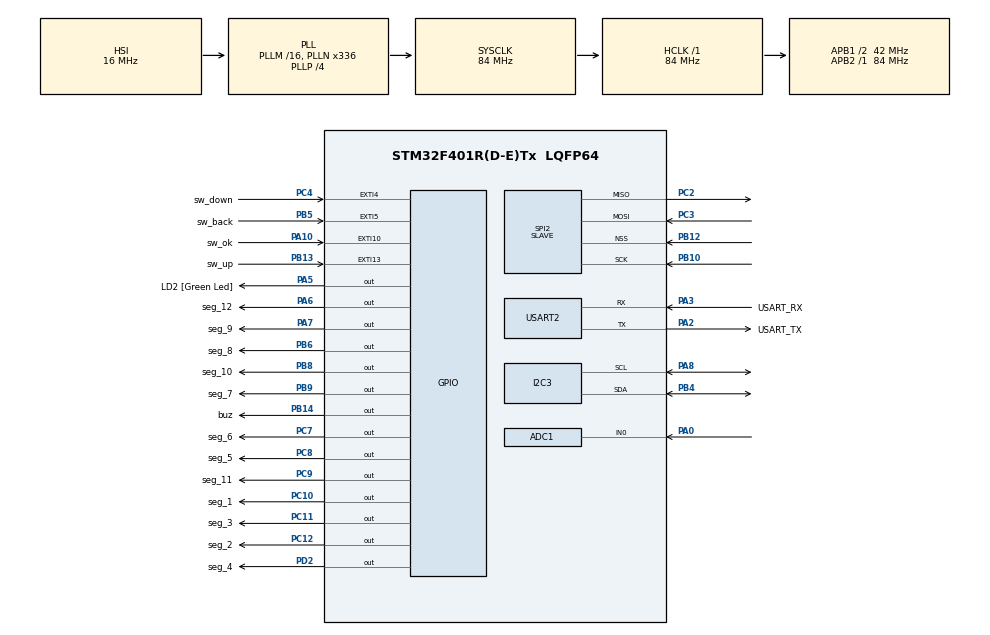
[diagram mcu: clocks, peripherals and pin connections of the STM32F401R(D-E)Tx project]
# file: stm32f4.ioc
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ADC1.Channel-0\#ChannelRegularConversion=ADC_CHANNEL_0
ADC1.DMAContinuousRequests=ENABLE
ADC1.ExternalTrigConv=ADC_EXTERNALTRIGCONV_T3_TRGO
ADC1.NbrOfConversion=1
ADC1.NbrOfConversionFlag=1
ADC1.Rank-0\#ChannelRegularConversion=1
ADC1.SamplingTime-0\#ChannelRegularConversion=ADC_SAMPLETIME_56CYCLES
ADC1.master=1
Dma.ADC1.0.Direction=DMA_PERIPH_TO_MEMORY
Dma.ADC1.0.FIFOMode=DMA_FIFOMODE_DISABLE
Dma.ADC1.0.Instance=DMA2_Stream0
Dma.ADC1.0.MemDataAlignment=DMA_MDATAALIGN_HALFWORD
Dma.ADC1.0.MemInc=DMA_MINC_ENABLE
Dma.ADC1.0.Mode=DMA_CIRCULAR
Dma.ADC1.0.PeriphDataAlignment=DMA_PDATAALIGN_HALFWORD
Dma.ADC1.0.PeriphInc=DMA_PINC_DISABLE
Dma.ADC1.0.Priority=DMA_PRIORITY_LOW
Dma.Request0=ADC1
FREERTOS.BinarySemaphores01=adcBinarySem,Dynamic,NULL,Depleted
FREERTOS.Queues01=buttonQueue,16,uint16_t,0,Dynamic,NULL,NULL
FREERTOS.Tasks01=FFTTask,2,2048,StartFFTTask,Default,NULL,Dynamic,NULL,NULL;menuTask,0,128,StartMenuTask,Default,NULL,Dynamic,NULL,NULL
FREERTOS.configUSE_NEWLIB_REENTRANT=1
Mcu.Family=STM32F4
Mcu.Name=STM32F401R(D-E)Tx
Mcu.Package=LQFP64
NVIC.DMA2_Stream0_IRQn=true\:5\:0\:false\:false\:true\:true\:false\:true\:true
NVIC.EXTI15_10_IRQn=true\:5\:0\:false\:false\:true\:true\:true\:true\:true
NVIC.EXTI4_IRQn=true\:5\:0\:false\:false\:true\:true\:true\:true\:true
NVIC.EXTI9_5_IRQn=true\:5\:0\:false\:false\:true\:true\:true\:true\:true
NVIC.PriorityGroup=NVIC_PRIORITYGROUP_4
NVIC.SPI2_IRQn=true\:5\:0\:false\:false\:true\:true\:true\:true\:true
NVIC.TIM1_UP_TIM10_IRQn=true\:15\:0\:false\:false\:true\:false\:false\:true\:true
NVIC.TIM2_IRQn=true\:5\:0\:false\:false\:true\:true\:true\:true\:true
NVIC.TimeBase=TIM1_UP_TIM10_IRQn
NVIC.TimeBaseIP=TIM1
PA0-WKUP.Signal=ADCx_IN0
PA10.GPIO_Label=sw_ok
PA10.Signal=GPXTI10
PA13.GPIO_Label=TMS
PA13.Mode=Trace_Asynchronous_SW
PA13.Signal=SYS_JTMS-SWDIO
PA14.GPIO_Label=TCK
PA14.Mode=Trace_Asynchronous_SW
PA14.Signal=SYS_JTCK-SWCLK
PA2.GPIO_Label=USART_TX
PA2.GPIO_Mode=GPIO_MODE_AF_PP
PA2.GPIO_PuPd=GPIO_NOPULL
PA2.GPIO_Speed=GPIO_SPEED_FREQ_LOW
PA2.Mode=Asynchronous
PA2.Signal=USART2_TX
PA3.GPIO_Label=USART_RX
PA3.GPIO_Mode=GPIO_MODE_AF_PP
PA3.GPIO_PuPd=GPIO_NOPULL
PA3.GPIO_Speed=GPIO_SPEED_FREQ_LOW
PA3.Mode=Asynchronous
PA3.Signal=USART2_RX
PA5.GPIO_Label=LD2 [Green Led]
PA5.GPIO_Mode=GPIO_MODE_OUTPUT_PP
PA5.GPIO_PuPd=GPIO_NOPULL
PA5.GPIO_Speed=GPIO_SPEED_FREQ_LOW
PA5.Signal=GPIO_Output
PA6.GPIO_Label=seg_12
PA6.Signal=GPIO_Output
PA7.GPIO_Label=seg_9
PA7.Signal=GPIO_Output
PA8.Mode=I2C
PA8.Signal=I2C3_SCL
PB10.Mode=Full_Duplex_Slave
PB10.Signal=SPI2_SCK
PB12.Mode=NSS_Signal_Hard_Input
PB12.Signal=SPI2_NSS
PB13.GPIO_Label=sw_up
PB13.Signal=GPXTI13
PB14.GPIO_Label=buz
PB14.GPIO_PuPd=GPIO_PULLDOWN
PB14.Signal=GPIO_Output
PB3.GPIO_Label=SWO
PB3.Mode=Trace_Asynchronous_SW
PB3.Signal=SYS_JTDO-SWO
PB4.Mode=I2C
PB4.Signal=I2C3_SDA
PB5.GPIO_Label=sw_back
PB5.Signal=GPXTI5
PB6.GPIO_Label=seg_8
PB6.Signal=GPIO_Output
PB8.GPIO_Label=seg_10
PB8.Signal=GPIO_Output
PB9.GPIO_Label=seg_7
PB9.Signal=GPIO_Output
PC10.GPIO_Label=seg_1
PC10.Signal=GPIO_Output
PC11.GPIO_Label=seg_3
PC11.Signal=GPIO_Output
PC12.GPIO_Label=seg_2
PC12.Signal=GPIO_Output
PC14-OSC32_IN.Mode=LSE-External-Oscillator
PC14-OSC32_IN.Signal=RCC_OSC32_IN
PC15-OSC32_OUT.Mode=LSE-External-Oscillator
PC15-OSC32_OUT.Signal=RCC_OSC32_OUT
PC2.Mode=Full_Duplex_Slave
PC2.Signal=SPI2_MISO
PC3.Mode=Full_Duplex_Slave
PC3.Signal=SPI2_MOSI
PC4.GPIO_Label=sw_down
PC4.Signal=GPXTI4
PC7.GPIO_Label=seg_6
PC7.Signal=GPIO_Output
PC8.GPIO_Label=seg_5
PC8.Signal=GPIO_Output
PC9.GPIO_Label=seg_11
PC9.Signal=GPIO_Output
PD2.GPIO_Label=seg_4
PD2.Signal=GPIO_Output
PH0\ -\ OSC_IN.Mode=HSE-External-Clock-Source
PH0\ -\ OSC_IN.Signal=RCC_OSC_IN
PH1\ -\ OSC_OUT.Mode=HSE-External-Clock-Source
PH1\ -\ OSC_OUT.Signal=RCC_OSC_OUT
ProjectManager.HeapSize=0x200
ProjectManager.StackSize=0x400
ProjectManager.TargetToolchain=STM32CubeIDE
RCC.48MHZClocksFreq_Value=48000000
RCC.AHBFreq_Value=84000000
RCC.APB1CLKDivider=RCC_HCLK_DIV2
RCC.APB1Freq_Value=42000000
RCC.APB1TimFreq_Value=84000000
RCC.APB2Freq_Value=84000000
RCC.APB2TimFreq_Value=84000000
RCC.CortexFreq_Value=84000000
RCC.HCLKFreq_Value=84000000
RCC.HSE_VALUE=8000000
RCC.HSI_VALUE=16000000
RCC.PLLN=336
RCC.PLLP=RCC_PLLP_DIV4
RCC.PLLQ=7
RCC.SYSCLKFreq_VALUE=84000000
RCC.SYSCLKSource=RCC_SYSCLKSOURCE_PLLCLK
RCC.VCOOutputFreq_Value=336000000
SH.ADCx_IN0.0=ADC1_IN0,IN0
SPI2.Direction=SPI_DIRECTION_2LINES
SPI2.Mode=SPI_MODE_SLAVE
SPI2.VirtualNSS=VM_NSSHARD
SPI2.VirtualType=VM_SLAVE
STMicroelectronics.X-CUBE-ALGOBUILD.1.4.0.LibraryCcDSPOoLibraryJjDSPOoLibrary=true
TIM2.Period=998
TIM2.Prescaler=83
TIM3.Period=99
TIM3.Prescaler=83
TIM3.TIM_MasterOutputTrigger=TIM_TRGO_UPDATE
USART2.VirtualMode=VM_ASYNC
VP_FREERTOS_VS_CMSIS_V1.Mode=CMSIS_V1
VP_STMicroelectronics.X-CUBE-ALGOBUILD_VS_DSPOoLibraryJjLibrary_1.4.0_1.4.0.Mode=DSPOoLibraryJjLibrary
VP_SYS_VS_tim1.Mode=TIM1
VP_TIM2_VS_ClockSourceINT.Mode=Internal
VP_TIM3_VS_ClockSourceINT.Mode=Internal
board=NUCLEO-F401RE

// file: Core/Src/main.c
/* USER CODE BEGIN Header */
/**
  ******************************************************************************
  * @file           : main.c
  * @brief          : Main program body
  ******************************************************************************
  * @attention
  *
  * Copyright (c) 2025 STMicroelectronics.
  * All rights reserved.
  *
  * This software is licensed under terms that can be found in the LICENSE file
  * in the root directory of this software component.
  * If no LICENSE file comes with this software, it is provided AS-IS.
  *
  ******************************************************************************
  */
/* USER CODE END Header */
#include "main.h"
#include "cmsis_os.h"

/* USER CODE BEGIN Includes */
#include <stdio.h>
#include "arm_math.h"  // DSP 라이브러리 (FFT용)
#include "fnd.h"
#include "lcd.h"
#include "menu.h"
#include <stdbool.h>
#include <math.h> // 해밍윈도우 M_PI 사용을 위해 추가

/* USER CODE END Includes */

/* USER CODE BEGIN PD */
#define FFT_LEN 1024       // 128, 256, 512, 1024, 2048 중 선택 (1024 권장)
#define SAMPLE_RATE 10000  // 10kHz (타이머 설정에 맞춤)
/* USER CODE END PD */

ADC_HandleTypeDef hadc1;
DMA_HandleTypeDef hdma_adc1;

I2C_HandleTypeDef hi2c3;

SPI_HandleTypeDef hspi2;

TIM_HandleTypeDef htim2;
TIM_HandleTypeDef htim3;

UART_HandleTypeDef huart2;

osThreadId FFTTaskHandle;
osThreadId menuTaskHandle;
osMessageQId buttonQueueHandle;
osSemaphoreId adcBinarySemHandle;
/* USER CODE BEGIN PV */

SPI_HandleTypeDef hspi2;
Packet tx_data; // 보낼 ?  ?  ?
Packet rx_data; // 받을 ?  ?  ?   (Master ? 보내?   Dummy  ? ???  ?  )
void Update_Sensor_Data_SPI(bool is_overspeed, int speed);

// 1. ADC 버퍼 (DMA가 데이터를 채워넣는 곳)
// uint16_t 타입이어야 합니다 (ADC가 12비트 정수이므로)
uint16_t adc_buffer[FFT_LEN * 2];

// 2. Q15 FFT용 버퍼들
// 입력/출력 버퍼는 FFT 길이의 2배가 필요합니다 (실수부 + 허수부)
q15_t fft_input_q15[FFT_LEN * 2];
q15_t fft_output_q15[FFT_LEN * 2];
q15_t fft_mag_q15[FFT_LEN];      // 최종 크기(Magnitude) 결과
volatile uint32_t process_offset = 0; // 태스크가 읽어야 할 위치 (0 또는 1024)

// 노이즈 마스킹용
int search_frame_count = 0;
volatile uint32_t noise_search_trigger = 0;
const int NOISE_SEARCH_LIMIT = 50;
uint8_t noise_bin_mask[FFT_LEN] = {0};

// FND
uint32_t held_speed_x10 = 0; // 세그먼트 출력용 (일정시간 유지)
uint32_t last_peak_tick = 0;
const uint32_t HOLD_TIME_MS = 1000; // 1초 동안 최고값 유지

// [SWV 관찰용 전역 변수]
volatile uint32_t debug_speed = 0;   // 계산된 속도
volatile uint32_t debug_speed_x10 = 0;
volatile uint32_t debug_freq = 0;    // 계산된 주파수
volatile int32_t debug_maxVal = 0;   // 신호 세기 (Magnitude)
volatile uint32_t debug_isr_cnt = 0; // 인터럽트 횟수 카운터
volatile q15_t debug_mag = 0; // 푸리에 편환 주파수별 세기 그래프 보기용도
volatile uint32_t debug_adc_raw = 0;
volatile uint32_t debug_accumulated = 0; // SNR 누적 확인용
volatile uint32_t debug_fft_mag = 0;
char debug_buffer[100]; // 디버그 출력

volatile uint32_t TH_OVERSPEED_km_h = 30;
volatile uint32_t TH_NOISE = 30;

#define ACC_FRAMES 3 // 누적 (너무 많이하면 반응 느려짐)
int32_t fft_accumulated[FFT_LEN] = {0}; // 누적용 버퍼
int acc_count = 0;

q15_t hanning_window[FFT_LEN]; // 해밍윈도우 0~32,000
// FFT 구조체 인스턴스
arm_rfft_instance_q15 S;

/* USER CODE END PV */

void SystemClock_Config(void);
static void MX_GPIO_Init(void);
static void MX_DMA_Init(void);
static void MX_USART2_UART_Init(void);
static void MX_ADC1_Init(void);
static void MX_TIM3_Init(void);
static void MX_TIM2_Init(void);
static void MX_SPI2_Init(void);
static void MX_I2C3_Init(void);
void StartFFTTask(void const * argument);
void StartMenuTask(void const * argument);

/* USER CODE BEGIN 0 */
int __io_putchar(int ch)
{
 // Write character to ITM ch.0
 ITM_SendChar(ch);
 return(ch);
}
/* USER CODE END 0 */

int main(void)
{

  /* MCU Configuration--------------------------------------------------------*/

  /* Reset of all peripherals, Initializes the Flash interface and the Systick. */

	HAL_Init();

  /* Configure the system clock */
  SystemClock_Config();

  /* Initialize all configured peripherals */
  MX_GPIO_Init();
  MX_DMA_Init();
  MX_USART2_UART_Init();
  MX_ADC1_Init();
  MX_TIM3_Init();
  MX_TIM2_Init();
  MX_SPI2_Init();
  MX_I2C3_Init();
  /* USER CODE BEGIN 2 */
  FND_Init();
  HAL_TIM_Base_Start_IT(&htim2);
  for (int i = 0; i < FFT_LEN; i++) {
      // 0.5 * (1 - cos(2*pi*n / (N-1))) 공식을 Q15 포맷으로 변환
      // 32767은 Q15의 1.0에 해당
      float32_t val = 0.5f * (1.0f - cosf(2.0f * 3.141592f * (float)i / (float)(FFT_LEN - 1)));
      hanning_window[i] = (q15_t)(val * 32767.0f);
  }
  /* USER CODE END 2 */

  /* Create the semaphores(s) */
  /* definition and creation of adcBinarySem */
  osSemaphoreDef(adcBinarySem);
  adcBinarySemHandle = osSemaphoreCreate(osSemaphore(adcBinarySem), 1);

  /* Create the queue(s) */
  /* definition and creation of buttonQueue */
  osMessageQDef(buttonQueue, 16, uint16_t);
  buttonQueueHandle = osMessageCreate(osMessageQ(buttonQueue), NULL);

  /* Create the thread(s) */
  /* definition and creation of FFTTask */
  osThreadDef(FFTTask, StartFFTTask, osPriorityHigh, 0, 2048);
  FFTTaskHandle = osThreadCreate(osThread(FFTTask), NULL);

  /* definition and creation of menuTask */
  osThreadDef(menuTask, StartMenuTask, osPriorityNormal, 0, 128);
  menuTaskHandle = osThreadCreate(osThread(menuTask), NULL);

  /* Start scheduler */
  osKernelStart();

  /* We should never get here as control is now taken by the scheduler */

  /* Infinite loop */
  while (1)
  {

  }
}

void SystemClock_Config(void)
{
  RCC_OscInitTypeDef RCC_OscInitStruct = {0};
  RCC_ClkInitTypeDef RCC_ClkInitStruct = {0};

  /** Configure the main internal regulator output voltage
  */
  __HAL_RCC_PWR_CLK_ENABLE();
  __HAL_PWR_VOLTAGESCALING_CONFIG(PWR_REGULATOR_VOLTAGE_SCALE2);

  /** Initializes the RCC Oscillators according to the specified parameters
  * in the RCC_OscInitTypeDef structure.
  */
  RCC_OscInitStruct.OscillatorType = RCC_OSCILLATORTYPE_HSI;
  RCC_OscInitStruct.HSIState = RCC_HSI_ON;
  RCC_OscInitStruct.HSICalibrationValue = RCC_HSICALIBRATION_DEFAULT;
  RCC_OscInitStruct.PLL.PLLState = RCC_PLL_ON;
  RCC_OscInitStruct.PLL.PLLSource = RCC_PLLSOURCE_HSI;
  RCC_OscInitStruct.PLL.PLLM = 16;
  RCC_OscInitStruct.PLL.PLLN = 336;
  RCC_OscInitStruct.PLL.PLLP = RCC_PLLP_DIV4;
  RCC_OscInitStruct.PLL.PLLQ = 7;
  if (HAL_RCC_OscConfig(&RCC_OscInitStruct) != HAL_OK)
  {
    Error_Handler();
  }

  /** Initializes the CPU, AHB and APB buses clocks
  */
  RCC_ClkInitStruct.ClockType = RCC_CLOCKTYPE_HCLK|RCC_CLOCKTYPE_SYSCLK
                              |RCC_CLOCKTYPE_PCLK1|RCC_CLOCKTYPE_PCLK2;
  RCC_ClkInitStruct.SYSCLKSource = RCC_SYSCLKSOURCE_PLLCLK;
  RCC_ClkInitStruct.AHBCLKDivider = RCC_SYSCLK_DIV1;
  RCC_ClkInitStruct.APB1CLKDivider = RCC_HCLK_DIV2;
  RCC_ClkInitStruct.APB2CLKDivider = RCC_HCLK_DIV1;

  if (HAL_RCC_ClockConfig(&RCC_ClkInitStruct, FLASH_LATENCY_2) != HAL_OK)
  {
    Error_Handler();
  }
}

static void MX_ADC1_Init(void)
{

  ADC_ChannelConfTypeDef sConfig = {0};

  /** Configure the global features of the ADC (Clock, Resolution, Data Alignment and number of conversion)
  */
  hadc1.Instance = ADC1;
  hadc1.Init.ClockPrescaler = ADC_CLOCK_SYNC_PCLK_DIV4;
  hadc1.Init.Resolution = ADC_RESOLUTION_12B;
  hadc1.Init.ScanConvMode = DISABLE;
  hadc1.Init.ContinuousConvMode = DISABLE;
  hadc1.Init.DiscontinuousConvMode = DISABLE;
  hadc1.Init.ExternalTrigConvEdge = ADC_EXTERNALTRIGCONVEDGE_RISING;
  hadc1.Init.ExternalTrigConv = ADC_EXTERNALTRIGCONV_T3_TRGO;
  hadc1.Init.DataAlign = ADC_DATAALIGN_RIGHT;
  hadc1.Init.NbrOfConversion = 1;
  hadc1.Init.DMAContinuousRequests = ENABLE;
  hadc1.Init.EOCSelection = ADC_EOC_SINGLE_CONV;
  if (HAL_ADC_Init(&hadc1) != HAL_OK)
  {
    Error_Handler();
  }

  /** Configure for the selected ADC regular channel its corresponding rank in the sequencer and its sample time.
  */
  sConfig.Channel = ADC_CHANNEL_0;
  sConfig.Rank = 1;
  sConfig.SamplingTime = ADC_SAMPLETIME_480CYCLES;
  if (HAL_ADC_ConfigChannel(&hadc1, &sConfig) != HAL_OK)
  {
    Error_Handler();
  }

}

static void MX_I2C3_Init(void)
{

  hi2c3.Instance = I2C3;
  hi2c3.Init.ClockSpeed = 100000;
  hi2c3.Init.DutyCycle = I2C_DUTYCYCLE_2;
  hi2c3.Init.OwnAddress1 = 0;
  hi2c3.Init.AddressingMode = I2C_ADDRESSINGMODE_7BIT;
  hi2c3.Init.DualAddressMode = I2C_DUALADDRESS_DISABLE;
  hi2c3.Init.OwnAddress2 = 0;
  hi2c3.Init.GeneralCallMode = I2C_GENERALCALL_DISABLE;
  hi2c3.Init.NoStretchMode = I2C_NOSTRETCH_DISABLE;
  if (HAL_I2C_Init(&hi2c3) != HAL_OK)
  {
    Error_Handler();
  }

}

static void MX_SPI2_Init(void)
{

  /* SPI2 parameter configuration*/
  hspi2.Instance = SPI2;
  hspi2.Init.Mode = SPI_MODE_SLAVE;
  hspi2.Init.Direction = SPI_DIRECTION_2LINES;
  hspi2.Init.DataSize = SPI_DATASIZE_8BIT;
  hspi2.Init.CLKPolarity = SPI_POLARITY_LOW;
  hspi2.Init.CLKPhase = SPI_PHASE_1EDGE;
  hspi2.Init.NSS = SPI_NSS_HARD_INPUT;
  hspi2.Init.FirstBit = SPI_FIRSTBIT_MSB;
  hspi2.Init.TIMode = SPI_TIMODE_DISABLE;
  hspi2.Init.CRCCalculation = SPI_CRCCALCULATION_DISABLE;
  hspi2.Init.CRCPolynomial = 10;
  if (HAL_SPI_Init(&hspi2) != HAL_OK)
  {
    Error_Handler();
  }

}

static void MX_TIM2_Init(void)
{

  TIM_ClockConfigTypeDef sClockSourceConfig = {0};
  TIM_MasterConfigTypeDef sMasterConfig = {0};

  htim2.Instance = TIM2;
  htim2.Init.Prescaler = 83;
  htim2.Init.CounterMode = TIM_COUNTERMODE_UP;
  htim2.Init.Period = 998;
  htim2.Init.ClockDivision = TIM_CLOCKDIVISION_DIV1;
  htim2.Init.AutoReloadPreload = TIM_AUTORELOAD_PRELOAD_DISABLE;
  if (HAL_TIM_Base_Init(&htim2) != HAL_OK)
  {
    Error_Handler();
  }
  sClockSourceConfig.ClockSource = TIM_CLOCKSOURCE_INTERNAL;
  if (HAL_TIM_ConfigClockSource(&htim2, &sClockSourceConfig) != HAL_OK)
  {
    Error_Handler();
  }
  sMasterConfig.MasterOutputTrigger = TIM_TRGO_RESET;
  sMasterConfig.MasterSlaveMode = TIM_MASTERSLAVEMODE_DISABLE;
  if (HAL_TIMEx_MasterConfigSynchronization(&htim2, &sMasterConfig) != HAL_OK)
  {
    Error_Handler();
  }

}

static void MX_TIM3_Init(void)
{

  TIM_ClockConfigTypeDef sClockSourceConfig = {0};
  TIM_MasterConfigTypeDef sMasterConfig = {0};

  htim3.Instance = TIM3;
  htim3.Init.Prescaler = 83;
  htim3.Init.CounterMode = TIM_COUNTERMODE_UP;
  htim3.Init.Period = 99;
  htim3.Init.ClockDivision = TIM_CLOCKDIVISION_DIV1;
  htim3.Init.AutoReloadPreload = TIM_AUTORELOAD_PRELOAD_DISABLE;
  if (HAL_TIM_Base_Init(&htim3) != HAL_OK)
  {
    Error_Handler();
  }
  sClockSourceConfig.ClockSource = TIM_CLOCKSOURCE_INTERNAL;
  if (HAL_TIM_ConfigClockSource(&htim3, &sClockSourceConfig) != HAL_OK)
  {
    Error_Handler();
  }
  sMasterConfig.MasterOutputTrigger = TIM_TRGO_UPDATE;
  sMasterConfig.MasterSlaveMode = TIM_MASTERSLAVEMODE_DISABLE;
  if (HAL_TIMEx_MasterConfigSynchronization(&htim3, &sMasterConfig) != HAL_OK)
  {
    Error_Handler();
  }

}

static void MX_USART2_UART_Init(void)
{

  huart2.Instance = USART2;
  huart2.Init.BaudRate = 115200;
  huart2.Init.WordLength = UART_WORDLENGTH_8B;
  huart2.Init.StopBits = UART_STOPBITS_1;
  huart2.Init.Parity = UART_PARITY_NONE;
  huart2.Init.Mode = UART_MODE_TX_RX;
  huart2.Init.HwFlowCtl = UART_HWCONTROL_NONE;
  huart2.Init.OverSampling = UART_OVERSAMPLING_16;
  if (HAL_UART_Init(&huart2) != HAL_OK)
  {
    Error_Handler();
  }

}

static void MX_DMA_Init(void)
{

  /* DMA controller clock enable */
  __HAL_RCC_DMA2_CLK_ENABLE();

  /* DMA interrupt init */
  /* DMA2_Stream0_IRQn interrupt configuration */
  HAL_NVIC_SetPriority(DMA2_Stream0_IRQn, 5, 0);
  HAL_NVIC_EnableIRQ(DMA2_Stream0_IRQn);

}

static void MX_GPIO_Init(void)
{
  GPIO_InitTypeDef GPIO_InitStruct = {0};

  /* GPIO Ports Clock Enable */
  __HAL_RCC_GPIOC_CLK_ENABLE();
  __HAL_RCC_GPIOH_CLK_ENABLE();
  __HAL_RCC_GPIOA_CLK_ENABLE();
  __HAL_RCC_GPIOB_CLK_ENABLE();
  __HAL_RCC_GPIOD_CLK_ENABLE();

  /*Configure GPIO pin Output Level */
  HAL_GPIO_WritePin(GPIOA, LD2_Pin|seg_12_Pin|seg_9_Pin, GPIO_PIN_RESET);

  /*Configure GPIO pin Output Level */
  HAL_GPIO_WritePin(GPIOB, buz_Pin|seg_8_Pin|seg_10_Pin|seg_7_Pin, GPIO_PIN_RESET);

  /*Configure GPIO pin Output Level */
  HAL_GPIO_WritePin(GPIOC, seg_6_Pin|seg_5_Pin|seg_11_Pin|seg_1_Pin
                          |seg_3_Pin|seg_2_Pin, GPIO_PIN_RESET);

  /*Configure GPIO pin Output Level */
  HAL_GPIO_WritePin(seg_4_GPIO_Port, seg_4_Pin, GPIO_PIN_RESET);

  /*Configure GPIO pins : LD2_Pin seg_12_Pin seg_9_Pin */
  GPIO_InitStruct.Pin = LD2_Pin|seg_12_Pin|seg_9_Pin;
  GPIO_InitStruct.Mode = GPIO_MODE_OUTPUT_PP;
  GPIO_InitStruct.Pull = GPIO_NOPULL;
  GPIO_InitStruct.Speed = GPIO_SPEED_FREQ_LOW;
  HAL_GPIO_Init(GPIOA, &GPIO_InitStruct);

  /*Configure GPIO pin : sw_down_Pin */
  GPIO_InitStruct.Pin = sw_down_Pin;
  GPIO_InitStruct.Mode = GPIO_MODE_IT_RISING;
  GPIO_InitStruct.Pull = GPIO_NOPULL;
  HAL_GPIO_Init(sw_down_GPIO_Port, &GPIO_InitStruct);

  /*Configure GPIO pins : sw_up_Pin sw_back_Pin */
  GPIO_InitStruct.Pin = sw_up_Pin|sw_back_Pin;
  GPIO_InitStruct.Mode = GPIO_MODE_IT_RISING;
  GPIO_InitStruct.Pull = GPIO_NOPULL;
  HAL_GPIO_Init(GPIOB, &GPIO_InitStruct);

  /*Configure GPIO pin : buz_Pin */
  GPIO_InitStruct.Pin = buz_Pin;
  GPIO_InitStruct.Mode = GPIO_MODE_OUTPUT_PP;
  GPIO_InitStruct.Pull = GPIO_PULLDOWN;
  GPIO_InitStruct.Speed = GPIO_SPEED_FREQ_LOW;
  HAL_GPIO_Init(buz_GPIO_Port, &GPIO_InitStruct);

  /*Configure GPIO pins : seg_6_Pin seg_5_Pin seg_11_Pin seg_1_Pin
                           seg_3_Pin seg_2_Pin */
  GPIO_InitStruct.Pin = seg_6_Pin|seg_5_Pin|seg_11_Pin|seg_1_Pin
                          |seg_3_Pin|seg_2_Pin;
  GPIO_InitStruct.Mode = GPIO_MODE_OUTPUT_PP;
  GPIO_InitStruct.Pull = GPIO_NOPULL;
  GPIO_InitStruct.Speed = GPIO_SPEED_FREQ_LOW;
  HAL_GPIO_Init(GPIOC, &GPIO_InitStruct);

  /*Configure GPIO pin : sw_ok_Pin */
  GPIO_InitStruct.Pin = sw_ok_Pin;
  GPIO_InitStruct.Mode = GPIO_MODE_IT_RISING;
  GPIO_InitStruct.Pull = GPIO_NOPULL;
  HAL_GPIO_Init(sw_ok_GPIO_Port, &GPIO_InitStruct);

  /*Configure GPIO pin : seg_4_Pin */
  GPIO_InitStruct.Pin = seg_4_Pin;
  GPIO_InitStruct.Mode = GPIO_MODE_OUTPUT_PP;
  GPIO_InitStruct.Pull = GPIO_NOPULL;
  GPIO_InitStruct.Speed = GPIO_SPEED_FREQ_LOW;
  HAL_GPIO_Init(seg_4_GPIO_Port, &GPIO_InitStruct);

  /*Configure GPIO pins : seg_8_Pin seg_10_Pin seg_7_Pin */
  GPIO_InitStruct.Pin = seg_8_Pin|seg_10_Pin|seg_7_Pin;
  GPIO_InitStruct.Mode = GPIO_MODE_OUTPUT_PP;
  GPIO_InitStruct.Pull = GPIO_NOPULL;
  GPIO_InitStruct.Speed = GPIO_SPEED_FREQ_LOW;
  HAL_GPIO_Init(GPIOB, &GPIO_InitStruct);

  /* EXTI interrupt init*/
  HAL_NVIC_SetPriority(EXTI4_IRQn, 5, 0);
  HAL_NVIC_EnableIRQ(EXTI4_IRQn);

  HAL_NVIC_SetPriority(EXTI9_5_IRQn, 5, 0);
  HAL_NVIC_EnableIRQ(EXTI9_5_IRQn);

  HAL_NVIC_SetPriority(EXTI15_10_IRQn, 5, 0);
  HAL_NVIC_EnableIRQ(EXTI15_10_IRQn);

}

/* USER CODE BEGIN 4 */
/* 1. 절반 완료 (Half Complete) -> 앞부분 데이터 처리 요청 */
void HAL_ADC_ConvHalfCpltCallback(ADC_HandleTypeDef* hadc)
{
    if (hadc->Instance == ADC1)
    {
        process_offset = 0; // "앞부분(0번지)부터 읽어라"
        osSemaphoreRelease(adcBinarySemHandle); // 태스크 깨우기 🚩
    }
}

/* 2. 전체 완료 (Full Complete) -> 뒷부분 데이터 처리 요청 */
void HAL_ADC_ConvCpltCallback(ADC_HandleTypeDef* hadc)
{
    if (hadc->Instance == ADC1)
    {
        debug_isr_cnt++;

        process_offset = FFT_LEN; // "뒷부분(1024번지)부터 읽어라"
        osSemaphoreRelease(adcBinarySemHandle); // 태스크 깨우기 🚩

    }
}

void HAL_SPI_TxRxCpltCallback(SPI_HandleTypeDef *hspi)
{
  if(hspi->Instance == SPI2)
  {
    HAL_SPI_TransmitReceive_IT(&hspi2, (uint8_t*)&tx_data, (uint8_t*)&rx_data, sizeof(Packet));
  }
}

void Update_Sensor_Data_SPI(bool _is_overspeed, int _speed){
	tx_data.is_overspeed = _is_overspeed;
	tx_data.speed = _speed;
}

void HAL_GPIO_EXTI_Callback(uint16_t GPIO_Pin)
{
	static uint32_t last_tick = 0;
	if (HAL_GetTick() - last_tick < 200) return;
	last_tick = HAL_GetTick();
	osMessagePut(buttonQueueHandle, (uint32_t)GPIO_Pin, 0);

    if (GPIO_Pin == sw_ok_Pin)
    {

    }
    else if (GPIO_Pin == sw_up_Pin)
    {

    }
    else if (GPIO_Pin == sw_down_Pin)
    {

    }
    else if (GPIO_Pin == sw_back_Pin)
    {

    }
}

/* USER CODE END 4 */

void StartFFTTask(void const * argument)
{
  /* USER CODE BEGIN 5 */
  arm_rfft_init_q15(&S, FFT_LEN, 0, 1);

  // 버퍼 크기 2배로 설정 (Ping-Pong)
  HAL_ADC_Start_DMA(&hadc1, (uint32_t*)adc_buffer, FFT_LEN * 2);
  HAL_TIM_Base_Start(&htim3);
  HAL_SPI_TransmitReceive_IT(&hspi2, (uint8_t*)&tx_data, (uint8_t*)&rx_data, sizeof(Packet));

  /* Infinite loop */
  for(;;)
  {
	  // [B] 신호 대기 (인터럽트가 깨울 때까지 잠듦) 💤
	  if (osSemaphoreWait(adcBinarySemHandle, osWaitForever) == osOK)
	  {
		  // [C] 데이터 복사 (Ping-Pong 로직)
		  // process_offset 변수가 가리키는 곳(0 또는 1024)에서 데이터를 가져옵니다.

		  // DC 제거 및 Q15 변환
		  uint32_t sum = 0;
		  // 평균 구하기 (DC 오프셋)
		  for (int i = 0; i < FFT_LEN; i++) {
			  sum += adc_buffer[process_offset + i];
			  debug_adc_raw = adc_buffer[process_offset + i]; // 디버깅용
		  }
		  uint32_t dc_offset = sum / FFT_LEN; // 약 2000
//		  printf("dc_offset: %lu \r\n", dc_offset);

		  // FFT 입력 버퍼로 복사
//		  for (int i = 0; i < FFT_LEN; i++) {
//			  int16_t val = (int16_t)adc_buffer[process_offset + i] - dc_offset;
//			  fft_input_q15[i] = (q15_t)(val); // 값 증폭 (필요시 조정)
////			  fft_input_q15[i] = (q15_t)(val << 3); // 값 증폭 (필요시 조정)
//		  }
		  // 해밍윈도우 추가
		  for (int i = 0; i < FFT_LEN; i++) {
				int16_t val = (int16_t)adc_buffer[process_offset + i] - dc_offset;

				// [중요] 값을 증폭(<<3)하기 전에 Window 함수를 곱해줍니다.
				// Q15 곱셈: (Signal * Window) >> 15
				int32_t windowed_val = ((int32_t)val * hanning_window[i]) >> 15;  //hanning_window: 0~32000==2^15

				// 그 후 증폭 (입력이 작다면)
				fft_input_q15[i] = (q15_t)(windowed_val << 3);
//				fft_input_q15[i] = (q15_t)(windowed_val);
			}

		  // [A] FFT 계산 및 속도 출력
		  arm_rfft_q15(&S, fft_input_q15, fft_output_q15);
		  arm_cmplx_mag_q15(fft_output_q15, fft_mag_q15, FFT_LEN);

		  // noise 마스킹 탐색 코드 추가
		  if (noise_search_trigger == 1) {
			  for (int i = 0; i < FFT_LEN / 2; i++) {
				  if (fft_mag_q15[i] > TH_NOISE) {
					  noise_bin_mask[i] = 1;
				  }
			  }
			  search_frame_count++;
			  if (search_frame_count >= NOISE_SEARCH_LIMIT) {
				  noise_search_trigger = 2; // 완료
				  printf("noise searching list : \r\n");
				  for(int i = 0; i<FFT_LEN; i++){
					  if(noise_bin_mask[i]) printf("%d, ", i);
				  }
				  search_frame_count = 0;
			  }
			  continue;
		  }

		  // [SNR 누적 로직]
		  for(int i = 0; i < FFT_LEN; i++) {
			  debug_fft_mag = fft_mag_q15[i];

			  if (noise_bin_mask[i]) { // 의문의 노이즈 삭제
				  fft_accumulated[i] = 0; // 차단된 주파수는 누적값도 초기화
				  continue;
			  }

			  if(acc_count == 0) fft_accumulated[i] = (int32_t)fft_mag_q15[i];
			  else fft_accumulated[i] += (int32_t)fft_mag_q15[i]; // 값 더하기

			  if(acc_count == ACC_FRAMES-1) {
				  debug_accumulated = fft_accumulated[i] / ACC_FRAMES;
			  }
		  }
		  acc_count++;
		  if (acc_count < ACC_FRAMES) continue;
		  acc_count = 0;

		  // [Peak 찾기 로직]
		  uint32_t maxVal = 0;
		  uint32_t maxIndex = 0;
		  int start_index = 1; // 저주파 노이즈 제거
		  // 방법1 DSP 라이브러리의 함수활용하여 최대 찾기
//		  arm_max_q15(&fft_mag_q15[start_index], (FFT_LEN / 2) - start_index, &maxVal, &maxIndex);

		  // 방법2 누적 배열을 적용
//		  arm_max_q15(&fft_accumulated[start_index], (FFT_LEN / 2) - start_index, &maxVal, &maxIndex);
//		  maxIndex += start_index;

		  // 방법3 누적배열 중 진폭이 가장 큰 물체 찾기
		  for (int i = start_index; i < FFT_LEN / 2; i++)
		  {
			  uint32_t avg_val = fft_accumulated[i] / ACC_FRAMES;
//			  if(170 < avg_val && avg_val < 190) continue; // 왜인지 모르겠지만 5.5km/h~5.7km/h 구간 노이즈가 항상있어서 제외함
		      if (avg_val > maxVal)
		      {
		          maxVal = avg_val;
		          maxIndex = i;
		      }
		  }

//		  // 방법 4 누적배열 중 속도가 가장 빠른 물체 찾기
//		  for (int i = (FFT_LEN / 2) - 1; i >= start_index; i--) {
//			  uint32_t avg_val = fft_accumulated[i] / ACC_FRAMES;
//		      if (avg_val > TH_NOISE) {
//		    	  maxVal = avg_val;
//		    	  maxIndex = i;
//		          break; // 임계값을 넘는 가장 높은 주파수를 찾으면 즉시 중단 (가장 빠른 속도)
//		      }
//		  }

		  // [ 결과 출력 로직 ]
		  debug_maxVal = maxVal;
//		  printf("maxVal: %lu,  maxIndex : %lu  \r\n", maxVal, maxIndex);
//		  debug_mag = 1<<12;
		  uint32_t speed_x10 = 0;
		  if (maxVal > TH_NOISE) // 노이즈 임계값
		  {
			  printf("maxVal: %lu , TH_NOISE: %lu \r\n", maxVal, TH_NOISE);
			  uint32_t freq_hz = (maxIndex * SAMPLE_RATE) / FFT_LEN;
			  speed_x10 = (freq_hz * 10) / 44;

			  printf("maxIndex: %lu Hz, Speed: %lu.%lu km/h\r\n", maxIndex, speed_x10/10, speed_x10%10);
		  }

		  if (speed_x10 >= held_speed_x10 && speed_x10 > 0)  {
			  held_speed_x10 = speed_x10;
			  last_peak_tick = HAL_GetTick();
		  }
		  else {
			  // 신호가 낮아지거나 사라진 경우, HOLD_TIME_MS(1초)가 지나면 현재 값(0 포함)으로 갱신
			  if (HAL_GetTick() - last_peak_tick > HOLD_TIME_MS)   {
			  	held_speed_x10 = speed_x10;
			  }
		  }

		  // 세그먼트 출력
		  FND_SetNumber(held_speed_x10);
//			  sprintf(debug_buffer, "Freq: %lu Hz, Speed: %lu.%lu km/h", freq_hz, speed_x10/10, speed_x10%10);
		  debug_speed = speed_x10/10;
		  debug_speed_x10 = speed_x10;
		  Update_Sensor_Data_SPI((speed_x10/10)>TH_OVERSPEED_km_h, speed_x10/10);
	  }
	  HAL_GPIO_TogglePin(LD2_GPIO_Port, LD2_Pin);
  }
  /* USER CODE END 5 */
}

void StartMenuTask(void const * argument)
{
  /* USER CODE BEGIN StartMenuTask */
	lcd_init();
	menu_init();

	lcd_put_cur(0, 0);  // 2. 첫 번째 줄 첫 칸으로 이동
	lcd_send_string("Hello STM32!"); // 3. 문자열 출력

	lcd_put_cur(1, 0);  // 4. 두 번째 줄로 이동
	lcd_send_string("I2C LCD Test");

	UI_State currentState = STATE_DASHBOARD;
	int currentMenuIdx = 0;
	osEvent event;
  /* Infinite loop */
  for(;;)
  {
	  event = osMessageGet(buttonQueueHandle, 100);

	  if (event.status == osEventMessage)
	  {
		  HAL_GPIO_WritePin(buz_GPIO_Port, buz_Pin, GPIO_PIN_SET);
		  osDelay(100);
		  HAL_GPIO_WritePin(buz_GPIO_Port, buz_Pin, GPIO_PIN_RESET);

		  uint16_t pin = (uint16_t)event.value.v;
//		  printf("pushed btn pin: %u \r\n", pin);
		  switch (currentState) {
			  case STATE_DASHBOARD:
				  if (pin == sw_ok_Pin) currentState = STATE_MENU_LIST; // OK 누르면 메뉴 진입
				  break;

			  case STATE_MENU_LIST:
				  if (pin == sw_up_Pin) currentMenuIdx = (currentMenuIdx + 1) % MENU_COUNT;
				  else if (pin == sw_down_Pin) currentMenuIdx = (currentMenuIdx + MENU_COUNT - 1) % MENU_COUNT;
				  else if (pin == sw_ok_Pin) currentState = STATE_SET_VALUE; // 값 설정 진입
				  else if (pin == sw_back_Pin) currentState = STATE_DASHBOARD; // 뒤로가기
				  break;

			  case STATE_SET_VALUE:
				  if (pin == sw_up_Pin){
					  *(menuItems[currentMenuIdx].target_value) += menuItems[currentMenuIdx].step;
					  if(*(menuItems[currentMenuIdx].target_value) < menuItems[currentMenuIdx].min)
						  *(menuItems[currentMenuIdx].target_value) = menuItems[currentMenuIdx].min;
					  else if(*(menuItems[currentMenuIdx].target_value) > menuItems[currentMenuIdx].max)
						  *(menuItems[currentMenuIdx].target_value) = menuItems[currentMenuIdx].max;
				  }
				  else if (pin == sw_down_Pin){
					  *(menuItems[currentMenuIdx].target_value) -= menuItems[currentMenuIdx].step;
					  if(*(menuItems[currentMenuIdx].target_value) < menuItems[currentMenuIdx].min)
						  *(menuItems[currentMenuIdx].target_value) = menuItems[currentMenuIdx].min;
					  else if(*(menuItems[currentMenuIdx].target_value) > menuItems[currentMenuIdx].max)
						  *(menuItems[currentMenuIdx].target_value) = menuItems[currentMenuIdx].max;
				  }
				  else if (pin == sw_ok_Pin){
					  if (currentMenuIdx == 3) { // Noise Search 메뉴
						  if (noise_search_trigger == 0) {
							  // 서칭 시작 전 마스크 초기화 (모든 주파수 차단 해제)
//							  for(int i=0; i < FFT_LEN/2; i++) noise_bin_mask[i] = 0;
							  noise_search_trigger = 1;
						  }
						  else if (noise_search_trigger == 2) {
							  // 탐색 완료 후 OK 누르면 메뉴로 탈출
							  noise_search_trigger = 0;
							  currentState = STATE_MENU_LIST;
						  }
					  }
					  else {
						  currentState = STATE_MENU_LIST;
					  }
				  }
				  else if (pin == sw_back_Pin) {
					  noise_search_trigger = 0;
					  currentState = STATE_MENU_LIST;
				  }

				  break;
		  }
	  }
	  UpdateLCD(currentState, currentMenuIdx);
  }
  /* USER CODE END StartMenuTask */
}

void HAL_TIM_PeriodElapsedCallback(TIM_HandleTypeDef *htim)
{
  if (htim->Instance == TIM1)
  {
    HAL_IncTick();
  }
  /* USER CODE BEGIN Callback 1 */
  if (htim->Instance == TIM2) {
//	  printf("tim2 alive\r\n");
	  FND_Update();
  }
  /* USER CODE END Callback 1 */
}

void Error_Handler(void)
{
  __disable_irq();
  while (1)
  {
  }
}
